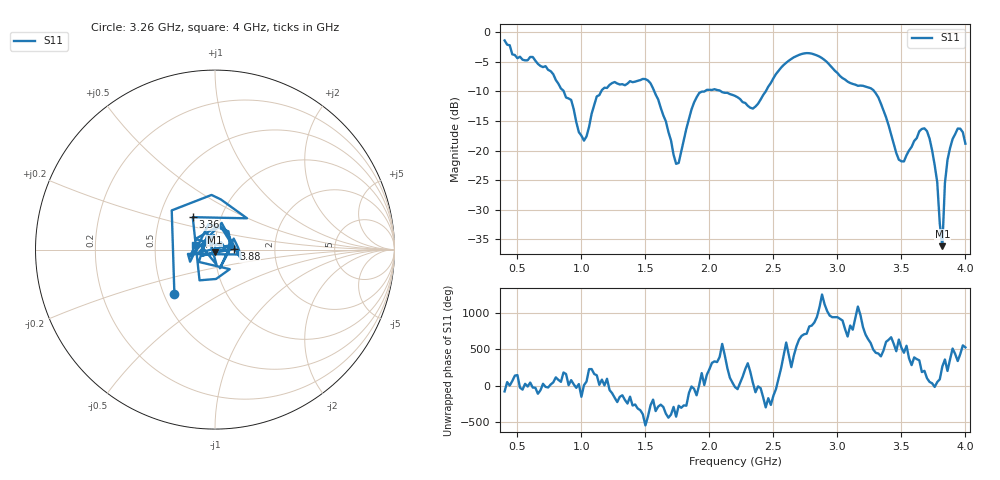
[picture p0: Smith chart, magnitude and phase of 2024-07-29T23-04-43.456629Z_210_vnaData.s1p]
!Created with skrf (http://scikit-rf.org).
# Hz S RI R 50.0
!freq ReS11 ImS11
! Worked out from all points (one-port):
!   181 points, 400 MHz to 4 GHz, reference 50 ohm
!   lowest |S11| = -36.1 dB at 3.82 GHz (marker M1), VSWR 1.03, Z = 49.9 - j1.55 ohm
!   |S11| at or under -10 dB: 1.57 GHz to 1.961 GHz (390.9 MHz wide, 22.1 % of centre); 2.092 GHz to 2.44 GHz (347.9 MHz wide, 15.4 % of centre); 3.289 GHz to end of sweep (the widest 3 of 4)
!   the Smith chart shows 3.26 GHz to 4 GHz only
!   S11 on the Smith chart (normalised r, x): 3.26 GHz: 0.57, -0.32; 3.36 GHz: 0.73, +0.28; 3.88 GHz: 1.23, +0.01; 4 GHz: 0.80, +0.04
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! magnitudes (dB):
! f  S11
! 400 MHz  -1.4
! 720 MHz  -5.7
! 860 MHz  -9.9
! 920 MHz  -11.4
! 1.02 GHz  -18.3
! 1.12 GHz  -10.8
! 1.3 GHz  -8.8
! 1.54 GHz  -8.6
! 1.76 GHz  -22.1
! 1.86 GHz  -13.1
! 1.92 GHz  -10.3
! 2.2 GHz  -10.7
! 2.34 GHz  -12.9
! 2.66 GHz  -4.2
! 2.86 GHz  -4.1
! 3.1 GHz  -8.6
! 3.26 GHz  -9.5
! 3.36 GHz  -13.2
! 3.48 GHz  -21.5
! 3.56 GHz  -20.0
! 3.7 GHz  -16.7
! 3.78 GHz  -25.3
! 3.8 GHz  -32.3
! 3.82 GHz  -36.1
! 3.84 GHz  -25.5
! 3.88 GHz  -19.6
! 3.94 GHz  -16.3
! 4 GHz  -18.8
